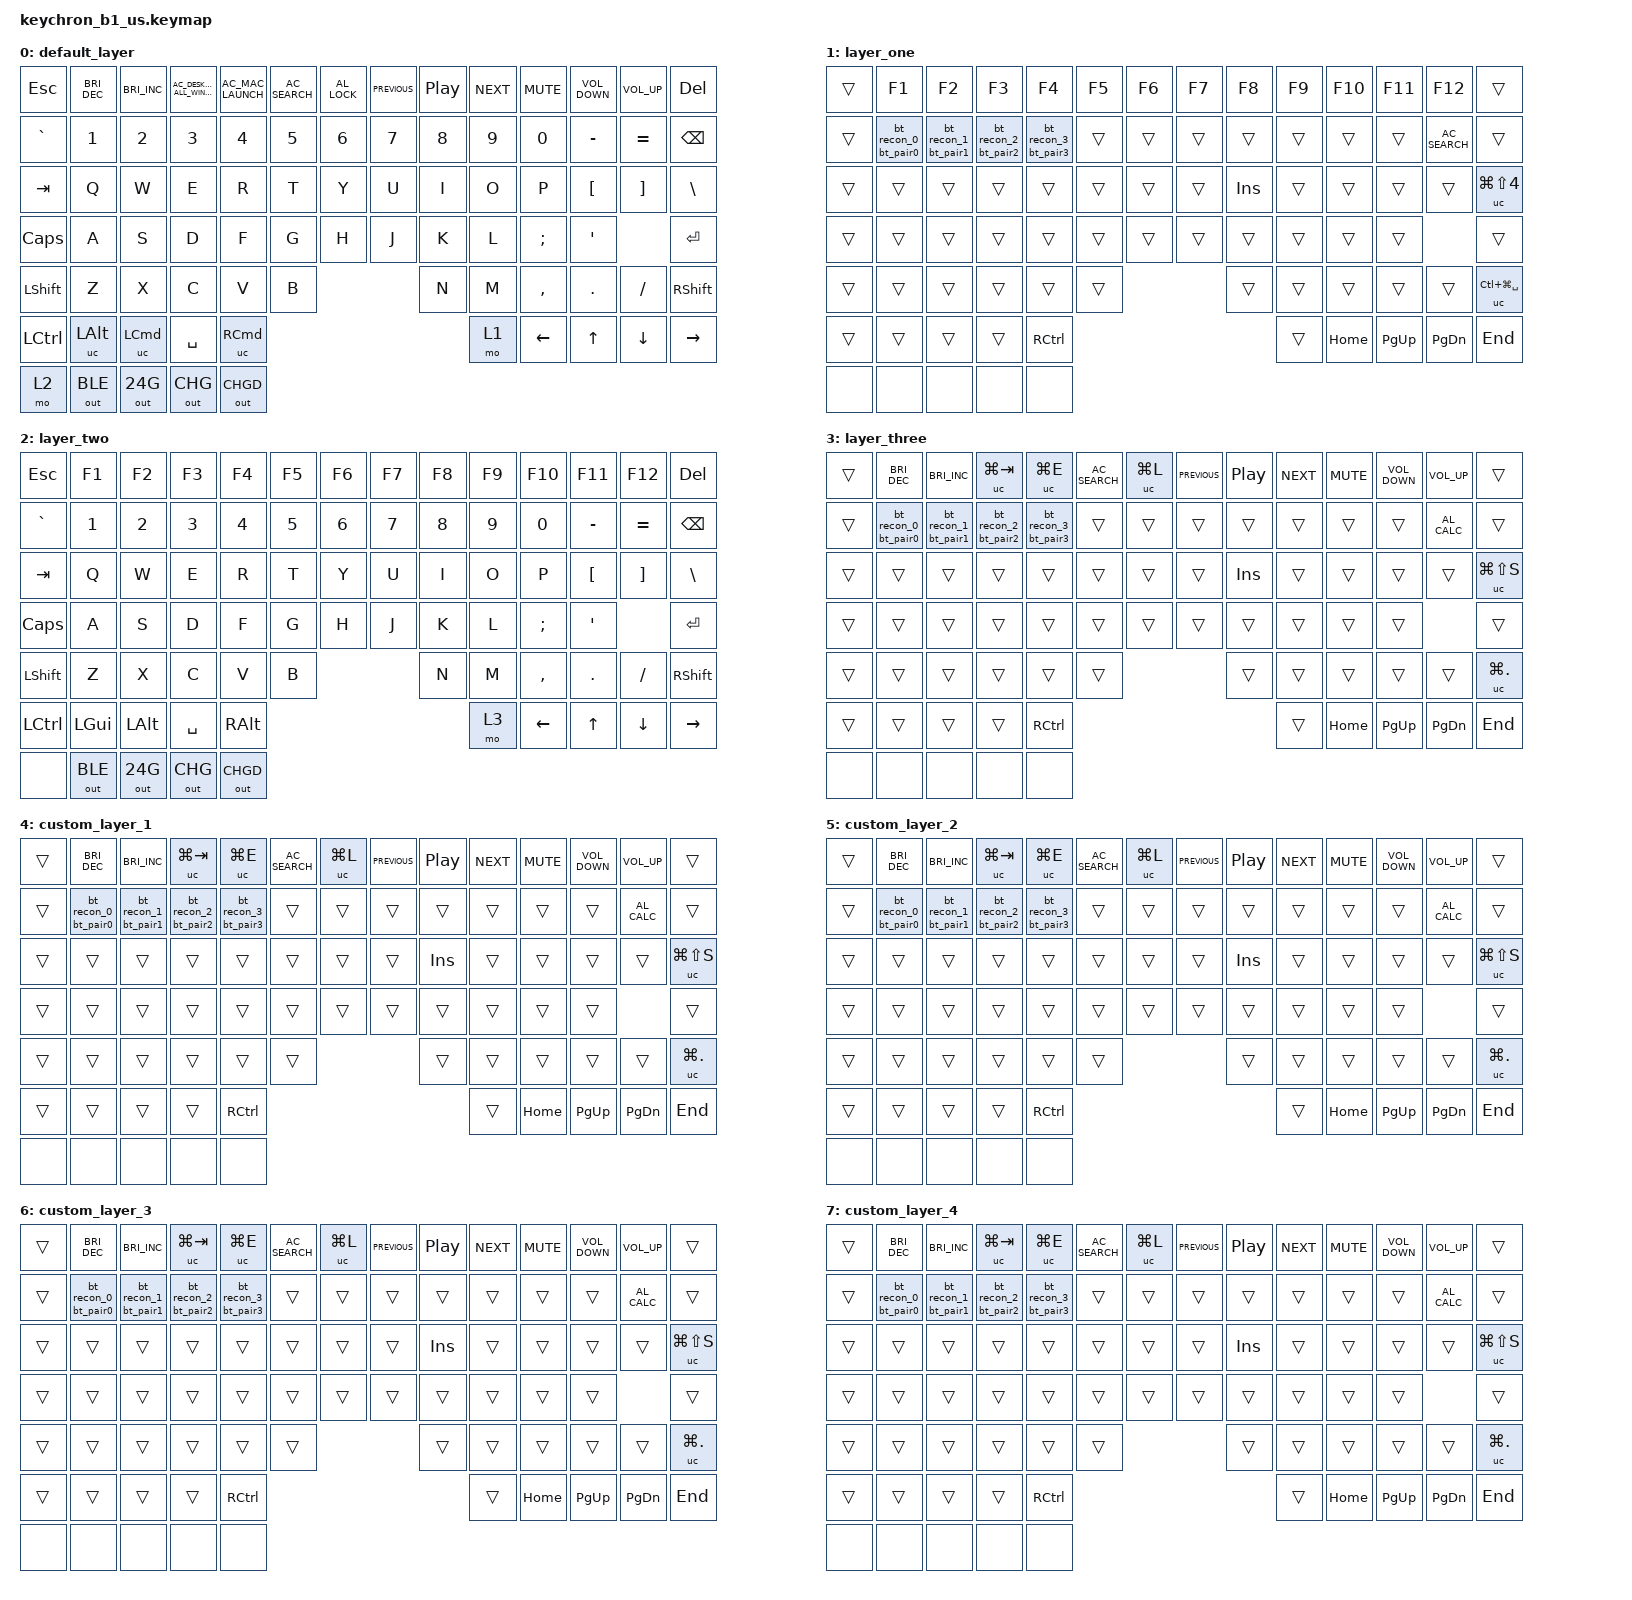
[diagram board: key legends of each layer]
/*
 * Copyright (c) 2023 The ZMK Contributors
 *
 * SPDX-License-Identifier: MIT
 */

#include <behaviors.dtsi>
#include <dt-bindings/zmk/keys.h>
#include <dt-bindings/zmk/rgb.h>
#include <dt-bindings/zmk/bt.h>
#include <dt-bindings/zmk/outputs.h>

/ {
    ZMK_MACRO(recover, bindings = <&out OUT_RECOVER>;)
    ZMK_MACRO(change, bindings = <&out OUT_FN>;)
    ZMK_MACRO(fn_win, bindings = <&out OUT_FN_WIN>;)

    ZMK_MACRO(en_bootloader, bindings = <&bootloader>;)
    ZMK_MACRO1(MA,bindings=<&kp 0x770000>;)

    long_press_recover:l1 {
        compatible = "zmk,behavior-hold-tap";
        label = "l1";
        #binding-cells = <2>;
        flavor = "tap-preferred";
        tapping-term-ms = <3000>;  // delay amount in ms
        bindings = <&recover>, <&none>;
    };

    long_press_change:l2{
        compatible = "zmk,behavior-hold-tap";
        label = "lp_change";
        #binding-cells = <2>;
        flavor = "tap-preferred";
        tapping-term-ms = <3000>;  // delay amount in ms
        bindings = <&change>, <&none>;
    };
    long_press_bootloader:l3{
        compatible = "zmk,behavior-hold-tap";
        label = "lp_bootloader";
        #binding-cells = <2>;
        flavor = "tap-preferred";
        tapping-term-ms = <3000>;  // delay amount in ms
        bindings = <&en_bootloader>, <&none>;
    };
    long_press_fn_win:l4{
        compatible = "zmk,behavior-hold-tap";
        label = "lp_fn_win";
        #binding-cells = <2>;
        flavor = "tap-preferred";
        tapping-term-ms = <3000>;   
        bindings = <&fn_win>, <&none>;
    };
   

    combos1 {
        compatible = "zmk,combos";
        combo_jz {
            timeout-ms = <1000>;
            layers = <1 3>;
            key-positions = <49 56>; //fn+j+z
            bindings = <&long_press_recover 0 0>;
        };
        combo_xl {
            timeout-ms = <1000>;
            layers =< 1 3>;
            key-positions = <57 51>; //fn+x+l
            bindings = <&long_press_change 0 0>;
        };
        combo_b {
            timeout-ms = <1000>;
            layers =< 1 3>;
            //slow-release = <true>;
            key-positions = <60>; //fn+b
            bindings = <&out OUT_BAT>;
        };

        combo_win_l {
            timeout-ms = <1000>;
            layers =< 1 3>;
            //slow-release = <true>;
            key-positions = <68>; //fn+win
            bindings = <&long_press_fn_win 0 0>;
        };

        combo_t0 {
            timeout-ms = <10 >;
            layers =<4>;
          
            key-positions = <80 90>;  
            bindings = <&to 3 >;
        };
        combo_t1 {
            timeout-ms = <10 >;
            layers =<4>;
          
            key-positions = <80 91>;  
            bindings = <&tog 3 >;
        };
        combo_t2 {
            timeout-ms = <10 >;
            layers =<4>;
          
            key-positions = <80 92>;  
            bindings = <&sl 3 >;
        };
        combo_t3 {
            timeout-ms = <10 >;
            layers =<4>;
          
            key-positions = <70 93>;  
            bindings = <&lt 3 SPACE>;
        };
        combo_t4 {
            timeout-ms = <10 >;
            layers =<4>;
          
            key-positions = <81 94>;  
            bindings = <&sk LSHIFT>;
        };
        combo_t5 {
            timeout-ms = <10 >;
            layers =<4>;
          
            key-positions = <81 93>;  
            bindings = <&mt LSHIFT SPACE>;
        };
        combo_t6 {
            timeout-ms = <10 >;
            layers =<4>;
          
            key-positions = <81 93>;  
            bindings = <&gresc>;
        };
    };

    td0 {
        compatible = "zmk,behavior-tap-dance";
        label = "TAPD_LAYER";
        #binding-cells = <1>;
        tapping-term-ms = <350>;
        bindings =<&mo 0>,<&mo 0>,<&mo 0>,<&mo 0>,<&to 0>;
    };
    ZMK_MACRO(bt_pair0, bindings = <&bt BT_PAIR 0>;)
    ZMK_MACRO(bt_pair1, bindings = <&bt BT_PAIR 1>;)
    ZMK_MACRO(bt_pair2, bindings = <&bt BT_PAIR 2>;)
    ZMK_MACRO(bt_pair3, bindings = <&bt BT_PAIR 3>;)
    ZMK_MACRO(bt_recon_0, bindings = <&bt BT_SEL 0>;)
    ZMK_MACRO(bt_recon_1, bindings = <&bt BT_SEL 1>;)
    ZMK_MACRO(bt_recon_2, bindings = <&bt BT_SEL 2>;)
    ZMK_MACRO(bt_recon_3, bindings = <&bt BT_SEL 3>;)
    


    bt_pair_0: bt_pair_0 {
        compatible = "zmk,behavior-hold-tap";
        label = "bt_pair0";
        #binding-cells = <2>;
        flavor = "tap-preferred";
        tapping-term-ms = <3000>;  // delay amount in ms
        bindings = <&bt_pair0>, <&bt_recon_0>;
    };
    bt_pair_1: bt_pair_1 {
        compatible = "zmk,behavior-hold-tap";
        label = "bt_pair1";
        #binding-cells = <2>;
        flavor = "tap-preferred";
        tapping-term-ms = <3000>;  // delay amount in ms
        bindings = <&bt_pair1>, <&bt_recon_1>;
    };
    bt_pair_2: bt_pair_2 {
        compatible = "zmk,behavior-hold-tap";
        label = "bt_pair2";
        #binding-cells = <2>;
        flavor = "tap-preferred";
        tapping-term-ms = <3000>;  // delay amount in ms
        bindings = <&bt_pair2>, <&bt_recon_2>;
    };
    bt_pair_3: bt_pair_3 {
        compatible = "zmk,behavior-hold-tap";
        label = "bt_pair3";
        #binding-cells = <2>;
        flavor = "tap-preferred";
        tapping-term-ms = <3000>;  // delay amount in ms
        bindings = <&bt_pair3>, <&bt_recon_3>;
    };
    uc:user_custom {
        compatible = "zmk,behavior-key-press";
        label ="user_custom";
        #binding-cells =<1>;
    };

	keymap {
    	compatible = "zmk,keymap";
            //mac
        default_layer {
        bindings = <
          //ESC         //f1                    //f2                //f3                                    //f4                //f5                //f6            //f7            //f8                //f9        //f10       //f11               //f12               //DEL                                              
        &kp ESC     &kp C_BRIGHTNESS_DEC    &kp C_BRIGHTNESS_INC    &kp C_AC_DESKTOP_SHOW_ALL_WINDOWS   &kp  C_AC_MAC_LAUNCH    &kp C_AC_SEARCH     &kp C_AL_LOCK   &kp C_PREVIOUS  &kp C_PLAY_PAUSE    &kp C_NEXT  &kp C_MUTE  &kp C_VOLUME_DOWN   &kp C_VOLUME_UP     &kp DEL  
        &kp GRAVE   &kp N1                  &kp N2                  &kp N3                              &kp N4                  &kp N5              &kp N6          &kp N7          &kp N8              &kp N9      &kp N0      &kp MINUS           &kp EQUAL           &kp BSPC 
        &kp TAB     &kp Q                   &kp W                   &kp E                               &kp R                   &kp T               &kp Y           &kp U           &kp I               &kp O       &kp P       &kp LBKT            &kp RBKT            &kp BSLH      
        &kp CLCK    &kp A                   &kp S                   &kp D                               &kp F                   &kp G               &kp H           &kp J           &kp K               &kp L       &kp SEMI    &kp SQT                         &kp RET                                         
        &kp LSHFT   &kp Z                   &kp X                   &kp C                               &kp V                   &kp B               &kp N           &kp M           &kp COMMA           &kp DOT     &kp FSLH                                    &kp RSHFT 
        &kp LCTRL   &uc LALT                &uc LCMD                       &kp SPACE                                                                                                &uc RCMD            &mo 1       &kp LEFT    &kp UP              &kp DOWN            &kp RIGHT   
        &mo 2       &out OUT_BLE            &out OUT_24G            &out OUT_CHG                        &out OUT_CHGD 
            >;
        };
        //mac
        layer_one  {
        bindings = < 
        &trans      &kp F1                  &kp F2                  &kp F3                              &kp F4                  &kp F5              &kp F6          &kp F7          &kp F8              &kp F9      &kp F10     &kp F11             &kp F12             &trans    
        &trans      &bt_pair_0 0 0          &bt_pair_1 0 0          &bt_pair_2 0 0                      &bt_pair_3 0 0          &trans              &trans          &trans          &trans              &trans      &trans      &trans              &kp C_AC_SEARCH     &trans      
        &trans      &trans                  &trans                  &trans                              &trans                  &trans              &trans          &trans          &kp INS             &trans      &trans      &trans              &trans              &uc LG(LS(N4))
        &trans      &trans                  &trans                  &trans                              &trans                  &trans              &trans          &trans          &trans              &trans      &trans      &trans                      &trans                  
        &trans      &trans                  &trans                  &trans                              &trans                  &trans              &trans          &trans          &trans              &trans      &trans                                  &uc LC(LG(SPACE))
        &trans      &trans                  &trans                         &trans                                                                                                   &kp RCTRL           &trans        &kp HOME   &kp PG_UP   &kp PG_DN    &kp END  
        //
        &none       &none                   &none                   &none                               &none
            >;
        };
        //win
        layer_two {
 		bindings = <
        &kp ESC 	&kp F1 	               &kp F2 	                &kp F3 	                            &kp F4 	                &kp F5 	            &kp F6 	        &kp F7 	        &kp F8 	            &kp F9 	     &kp F10 	&kp F11 	         &kp F12 	         &kp DEL     
        &kp GRAVE	&kp N1 	               &kp N2 	                &kp N3 	                            &kp N4 	                &kp N5 	            &kp N6 	        &kp N7 	        &kp N8 	            &kp N9 	     &kp N0     &kp MINUS 	         &kp EQUAL 	         &kp BSPC
        &kp TAB 	&kp Q 	               &kp W                    &kp E 	                            &kp R 	                &kp T               &kp Y 	        &kp U 	        &kp I 	            &kp O 	     &kp P 		&kp LBKT 	         &kp RBKT 	         &kp BSLH 	 	
        &kp CLCK 	&kp A 	               &kp S 	                &kp D 	                            &kp F 	                &kp G 	            &kp H 	        &kp J 	        &kp K 	            &kp L 	     &kp SEMI 	&kp SQT                      &kp RET
        &kp LSHFT   &kp Z 	               &kp X 	                &kp C 	                            &kp V 	                &kp B 	            &kp N 	        &kp M 	        &kp COMMA           &kp DOT      &kp FSLH                                &kp RSHFT				
        &kp LCTRL 	&kp LGUI               &kp LALT                      &kp SPACE              		                                                                            &kp RALT 	        &mo 3 		  &kp LEFT 	 &kp UP      &kp DOWN 	&kp RIGHT 	
        //
        &none       &out OUT_BLE           &out OUT_24G             &out OUT_CHG                        &out OUT_CHGD 
            >;
        };
        //win
        layer_three {
        bindings = < 
                    //f1                    //f2                    //f3                                //f4                        //f5            //f6              //f7            //f8              //f9        //f10           //f11                         //f12                     
        &trans  &kp C_BRIGHTNESS_DEC    &kp C_BRIGHTNESS_INC        &uc LG(TAB)                         &uc LG(E)               &kp C_AC_SEARCH     &uc LG(L)       &kp C_PREVIOUS  &kp C_PLAY_PAUSE    &kp C_NEXT  &kp C_MUTE  &kp C_VOLUME_DOWN           &kp C_VOLUME_UP      &trans   
        &trans  &bt_pair_0 0 0          &bt_pair_1 0 0              &bt_pair_2 0 0                      &bt_pair_3 0 0          &trans              &trans          &trans          &trans              &trans      &trans      &trans                      &kp C_AL_CALC        &trans          
        &trans  &trans                  &trans                      &trans                              &trans                  &trans              &trans          &trans          &kp INS             &trans      &trans      &trans                      &trans               &uc LG(LS(S))      
        &trans  &trans                  &trans                      &trans                              &trans                  &trans              &trans          &trans          &trans              &trans      &trans      &trans                              &trans  
        &trans  &trans                  &trans                      &trans                              &trans                  &trans              &trans          &trans          &trans              &trans      &trans                                          &uc LG(DOT) 
        &trans  &trans                  &trans                           &trans                                                                                                     &kp RCTRL           &trans      &kp HOME    &kp PG_UP    &kp PG_DN   &kp END    
        //
        &none   &none                   &none                       &none                               &none
            >;
        };
        custom_layer_1  {
        bindings = < 
                    //f1                    //f2                    //f3                                //f4                        //f5            //f6              //f7            //f8              //f9        //f10           //f11                         //f12                     
        &trans  &kp C_BRIGHTNESS_DEC    &kp C_BRIGHTNESS_INC        &uc LG(TAB)                         &uc LG(E)               &kp C_AC_SEARCH     &uc LG(L)       &kp C_PREVIOUS  &kp C_PLAY_PAUSE    &kp C_NEXT  &kp C_MUTE  &kp C_VOLUME_DOWN           &kp C_VOLUME_UP      &trans   
        &trans  &bt_pair_0 0 0          &bt_pair_1 0 0              &bt_pair_2 0 0                      &bt_pair_3 0 0          &trans              &trans          &trans          &trans              &trans      &trans      &trans                      &kp C_AL_CALC        &trans          
        &trans  &trans                  &trans                      &trans                              &trans                  &trans              &trans          &trans          &kp INS             &trans      &trans      &trans                      &trans               &uc LG(LS(S))      
        &trans  &trans                  &trans                      &trans                              &trans                  &trans              &trans          &trans          &trans              &trans      &trans      &trans                              &trans  
        &trans  &trans                  &trans                      &trans                              &trans                  &trans              &trans          &trans          &trans              &trans      &trans                                          &uc LG(DOT) 
        &trans  &trans                  &trans                           &trans                                                                                                     &kp RCTRL           &trans      &kp HOME    &kp PG_UP    &kp PG_DN   &kp END    
        //
        &none   &none                   &none                       &none                               &none
            >;
        };
        custom_layer_2  {
        bindings = < 
                    //f1                    //f2                    //f3                                //f4                        //f5            //f6              //f7            //f8              //f9        //f10           //f11                         //f12                     
        &trans  &kp C_BRIGHTNESS_DEC    &kp C_BRIGHTNESS_INC        &uc LG(TAB)                         &uc LG(E)               &kp C_AC_SEARCH     &uc LG(L)       &kp C_PREVIOUS  &kp C_PLAY_PAUSE    &kp C_NEXT  &kp C_MUTE  &kp C_VOLUME_DOWN           &kp C_VOLUME_UP      &trans   
        &trans  &bt_pair_0 0 0          &bt_pair_1 0 0              &bt_pair_2 0 0                      &bt_pair_3 0 0          &trans              &trans          &trans          &trans              &trans      &trans      &trans                      &kp C_AL_CALC        &trans          
        &trans  &trans                  &trans                      &trans                              &trans                  &trans              &trans          &trans          &kp INS             &trans      &trans      &trans                      &trans               &uc LG(LS(S))      
        &trans  &trans                  &trans                      &trans                              &trans                  &trans              &trans          &trans          &trans              &trans      &trans      &trans                              &trans  
        &trans  &trans                  &trans                      &trans                              &trans                  &trans              &trans          &trans          &trans              &trans      &trans                                          &uc LG(DOT) 
        &trans  &trans                  &trans                           &trans                                                                                                     &kp RCTRL           &trans      &kp HOME    &kp PG_UP    &kp PG_DN   &kp END    
        //
        &none   &none                   &none                       &none                               &none
            >;
        };
        custom_layer_3 {
        bindings = < 
                    //f1                    //f2                    //f3                                //f4                        //f5            //f6              //f7            //f8              //f9        //f10           //f11                         //f12                     
        &trans  &kp C_BRIGHTNESS_DEC    &kp C_BRIGHTNESS_INC        &uc LG(TAB)                         &uc LG(E)               &kp C_AC_SEARCH     &uc LG(L)       &kp C_PREVIOUS  &kp C_PLAY_PAUSE    &kp C_NEXT  &kp C_MUTE  &kp C_VOLUME_DOWN           &kp C_VOLUME_UP      &trans   
        &trans  &bt_pair_0 0 0          &bt_pair_1 0 0              &bt_pair_2 0 0                      &bt_pair_3 0 0          &trans              &trans          &trans          &trans              &trans      &trans      &trans                      &kp C_AL_CALC        &trans          
        &trans  &trans                  &trans                      &trans                              &trans                  &trans              &trans          &trans          &kp INS             &trans      &trans      &trans                      &trans               &uc LG(LS(S))      
        &trans  &trans                  &trans                      &trans                              &trans                  &trans              &trans          &trans          &trans              &trans      &trans      &trans                              &trans  
        &trans  &trans                  &trans                      &trans                              &trans                  &trans              &trans          &trans          &trans              &trans      &trans                                          &uc LG(DOT) 
        &trans  &trans                  &trans                           &trans                                                                                                     &kp RCTRL           &trans      &kp HOME    &kp PG_UP    &kp PG_DN   &kp END    
        //
        &none   &none                   &none                       &none                               &none
            >;
        };
        custom_layer_4 {
        bindings = < 
                    //f1                    //f2                    //f3                                //f4                        //f5            //f6              //f7            //f8              //f9        //f10           //f11                         //f12                     
        &trans  &kp C_BRIGHTNESS_DEC    &kp C_BRIGHTNESS_INC        &uc LG(TAB)                         &uc LG(E)               &kp C_AC_SEARCH     &uc LG(L)       &kp C_PREVIOUS  &kp C_PLAY_PAUSE    &kp C_NEXT  &kp C_MUTE  &kp C_VOLUME_DOWN           &kp C_VOLUME_UP      &trans   
        &trans  &bt_pair_0 0 0          &bt_pair_1 0 0              &bt_pair_2 0 0                      &bt_pair_3 0 0          &trans              &trans          &trans          &trans              &trans      &trans      &trans                      &kp C_AL_CALC        &trans          
        &trans  &trans                  &trans                      &trans                              &trans                  &trans              &trans          &trans          &kp INS             &trans      &trans      &trans                      &trans               &uc LG(LS(S))      
        &trans  &trans                  &trans                      &trans                              &trans                  &trans              &trans          &trans          &trans              &trans      &trans      &trans                              &trans  
        &trans  &trans                  &trans                      &trans                              &trans                  &trans              &trans          &trans          &trans              &trans      &trans                                          &uc LG(DOT) 
        &trans  &trans                  &trans                           &trans                                                                                                     &kp RCTRL           &trans      &kp HOME    &kp PG_UP    &kp PG_DN   &kp END    
        //
        &none   &none                   &none                       &none                               &none
            >;
        };
   

    	
    
	};
};

	
